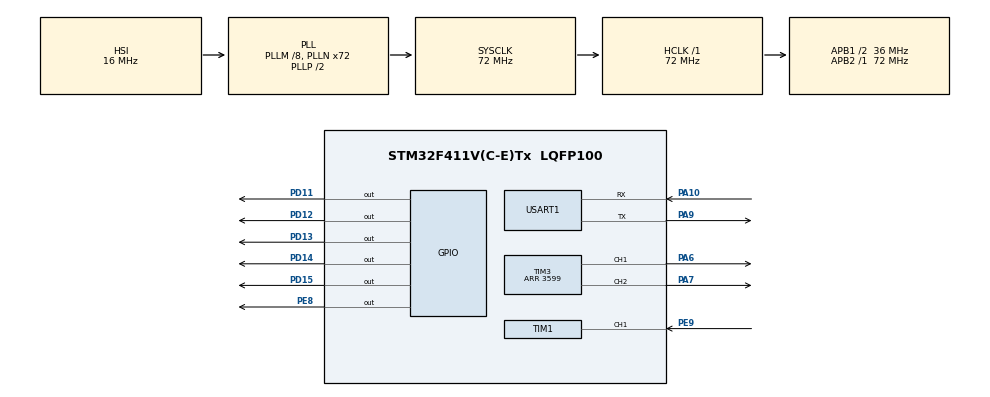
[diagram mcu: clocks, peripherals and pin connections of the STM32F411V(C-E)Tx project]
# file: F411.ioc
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Mcu.Family=STM32F4
Mcu.Name=STM32F411V(C-E)Tx
Mcu.Package=LQFP100
NVIC.PriorityGroup=NVIC_PRIORITYGROUP_4
NVIC.TIM1_CC_IRQn=true\:0\:0\:false\:false\:true\:true\:true\:true
NVIC.USART1_IRQn=true\:0\:0\:false\:false\:true\:true\:true\:true
PA10.Mode=Asynchronous
PA10.Signal=USART1_RX
PA6.Signal=S_TIM3_CH1
PA7.Signal=S_TIM3_CH2
PA9.Mode=Asynchronous
PA9.Signal=USART1_TX
PD11.Signal=GPIO_Output
PD12.Signal=GPIO_Output
PD13.Signal=GPIO_Output
PD14.Signal=GPIO_Output
PD15.Signal=GPIO_Output
PE8.Signal=GPIO_Output
PE9.Signal=S_TIM1_CH1
ProjectManager.HeapSize=0x200
ProjectManager.StackSize=0x400
ProjectManager.TargetToolchain=STM32CubeIDE
RCC.48MHZClocksFreq_Value=36000000
RCC.AHBFreq_Value=72000000
RCC.APB1CLKDivider=RCC_HCLK_DIV2
RCC.APB1Freq_Value=36000000
RCC.APB1TimFreq_Value=72000000
RCC.APB2Freq_Value=72000000
RCC.APB2TimFreq_Value=72000000
RCC.CortexFreq_Value=72000000
RCC.HCLKFreq_Value=72000000
RCC.HSE_VALUE=25000000
RCC.HSI_VALUE=16000000
RCC.LSE_VALUE=32768
RCC.PLLM=8
RCC.PLLN=72
RCC.SYSCLKFreq_VALUE=72000000
RCC.SYSCLKSource=RCC_SYSCLKSOURCE_PLLCLK
RCC.VCOOutputFreq_Value=144000000
SH.S_TIM1_CH1.0=TIM1_CH1,Input_Capture1_from_TI1
SH.S_TIM3_CH1.0=TIM3_CH1,PWM Generation1 CH1
SH.S_TIM3_CH2.0=TIM3_CH2,PWM Generation2 CH2
TIM1.Channel-Input_Capture1_from_TI1=TIM_CHANNEL_1
TIM3.Channel-PWM\ Generation1\ CH1=TIM_CHANNEL_1
TIM3.Channel-PWM\ Generation2\ CH2=TIM_CHANNEL_2
TIM3.Period=3599
USART1.VirtualMode=VM_ASYNC
VP_TIM1_VS_ClockSourceINT.Mode=Internal
board=custom

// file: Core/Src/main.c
/* USER CODE BEGIN Header */
/**
  ******************************************************************************
  * @file           : main.c
  * @brief          : Main program body
  ******************************************************************************
  * @attention
  *
  * Copyright (c) 2025 STMicroelectronics.
  * All rights reserved.
  *
  * This software is licensed under terms that can be found in the LICENSE file
  * in the root directory of this software component.
  * If no LICENSE file comes with this software, it is provided AS-IS.
  *
  ******************************************************************************
  */
/* USER CODE END Header */
#include "main.h"

/* USER CODE BEGIN Includes */
#include <stdlib.h>
#include <time.h>

/* USER CODE END Includes */

TIM_HandleTypeDef htim1;
TIM_HandleTypeDef htim3;

UART_HandleTypeDef huart1;

/* USER CODE BEGIN PV */
uint8_t rx_data;     // 單次接收的字元
uint8_t rx_flag = 0; // 收到新資料的flag
/* USER CODE END PV */

void SystemClock_Config(void);
static void MX_GPIO_Init(void);
static void MX_TIM1_Init(void);
static void MX_USART1_UART_Init(void);
static void MX_TIM3_Init(void);

/* USER CODE BEGIN 0 */
volatile uint32_t IC_Val1 = 0; // 上升緣捕捉到的計數器值
volatile uint32_t IC_Val2 = 0; // 降緣捕捉到的計數器值
volatile uint32_t Difference = 0; // 兩者相減得到的高脈寬
volatile uint8_t  Is_First_Captured = 0; // 狀態旗標
volatile uint16_t Distance = 0; // 計算後的距離，單位 cm

void HCSR05_Read(void);
void delay(uint16_t time);

void delay (uint16_t time) {
  __HAL_TIM_SET_COUNTER(&htim1, 0);
  while (__HAL_TIM_GET_COUNTER(&htim1) < time);
}

int count = 0; // 隨機模式計數
/* USER CODE END 0 */

int main(void)
{

  /* MCU Configuration--------------------------------------------------------*/

  /* Reset of all peripherals, Initializes the Flash interface and the Systick. */
  HAL_Init();

  /* Configure the system clock */
  SystemClock_Config();

  /* Initialize all configured peripherals */
  MX_GPIO_Init();
  MX_TIM1_Init();
  MX_USART1_UART_Init();
  MX_TIM3_Init();
  /* USER CODE BEGIN 2 */
  HAL_TIM_Base_Start(&htim1);  // 啟動 TIM1

  srand( (unsigned)HAL_GetTick() ); //以開機至今的毫秒數當亂數種子

  /* 啟動 PWM：左=CH1(PA6)、右=CH2(PA7) */
  HAL_TIM_PWM_Start(&htim3, TIM_CHANNEL_1);
  HAL_TIM_PWM_Start(&htim3, TIM_CHANNEL_2);

  /* 取得 ARR，方便計算 duty */
  uint32_t PWM_MAX = __HAL_TIM_GET_AUTORELOAD(&htim3);

  /* 給一個預設速度（70%） */
  uint32_t speed = (uint32_t)(PWM_MAX * 0.70f);

  // 非阻塞，避免 UART 卡死
  HAL_TIM_IC_Start_IT(&htim1, TIM_CHANNEL_1); //啟動 TIM1 CH1 輸入 中斷
  HAL_UART_Receive_IT(&huart1, &rx_data, 1);  //開啟UART 中斷
  /* USER CODE END 2 */

  /* Infinite loop */
  while (1)
  {

    /* USER CODE BEGIN 3 */
	  if (rx_flag) { //rx_flag = 1:有新資料，中斷裡面改
	          uint8_t data = rx_data;  // 把剛收到的字元讀出
	          rx_flag = 0;             // 清除旗標

	          switch (data)
	          {
	            case 'w': // forward
	            	  // 先停 PWM 避免瞬間短路
	              __HAL_TIM_SET_COMPARE(&htim3, TIM_CHANNEL_1, 0);
	              __HAL_TIM_SET_COMPARE(&htim3, TIM_CHANNEL_2, 0);
	              HAL_Delay(5);
	              HAL_GPIO_WritePin(GPIOD, GPIO_PIN_12, GPIO_PIN_RESET); // IN1=0
	              HAL_GPIO_WritePin(GPIOD, GPIO_PIN_13, GPIO_PIN_SET);   // IN2=1
	              HAL_GPIO_WritePin(GPIOD, GPIO_PIN_14, GPIO_PIN_RESET); // IN3=0
	              HAL_GPIO_WritePin(GPIOD, GPIO_PIN_15, GPIO_PIN_SET);   // IN4=1
	              __HAL_TIM_SET_COMPARE(&htim3, TIM_CHANNEL_1, speed);   // 左 ENA
	              __HAL_TIM_SET_COMPARE(&htim3, TIM_CHANNEL_2, speed);   // 右 ENB
	              break;

	            case 's': // back
		              __HAL_TIM_SET_COMPARE(&htim3, TIM_CHANNEL_1, 0);
		              __HAL_TIM_SET_COMPARE(&htim3, TIM_CHANNEL_2, 0);
		              HAL_Delay(5);
	              HAL_GPIO_WritePin(GPIOD, GPIO_PIN_12, GPIO_PIN_RESET);
	              HAL_GPIO_WritePin(GPIOD, GPIO_PIN_13, GPIO_PIN_SET);
	              HAL_GPIO_WritePin(GPIOD, GPIO_PIN_14, GPIO_PIN_RESET);
	              HAL_GPIO_WritePin(GPIOD, GPIO_PIN_15, GPIO_PIN_SET);
	              __HAL_TIM_SET_COMPARE(&htim3, TIM_CHANNEL_1, speed);
	              __HAL_TIM_SET_COMPARE(&htim3, TIM_CHANNEL_2, speed);
	              break;

	            case 'a':
		              __HAL_TIM_SET_COMPARE(&htim3, TIM_CHANNEL_1, 0);
		              __HAL_TIM_SET_COMPARE(&htim3, TIM_CHANNEL_2, 0);
		              HAL_Delay(5);
		              HAL_GPIO_WritePin(GPIOD, GPIO_PIN_12, GPIO_PIN_RESET); // IN1=0
		              HAL_GPIO_WritePin(GPIOD, GPIO_PIN_13, GPIO_PIN_SET);   // IN2=1
		              HAL_GPIO_WritePin(GPIOD, GPIO_PIN_14, GPIO_PIN_SET);   // IN3=1
		              HAL_GPIO_WritePin(GPIOD, GPIO_PIN_15, GPIO_PIN_RESET); // IN4=0
	              __HAL_TIM_SET_COMPARE(&htim3, TIM_CHANNEL_1, speed);       // 左 ENA
	              __HAL_TIM_SET_COMPARE(&htim3, TIM_CHANNEL_2, speed);       // 右 ENB
	              break;

	            case 'd': // right
		              __HAL_TIM_SET_COMPARE(&htim3, TIM_CHANNEL_1, 0);
		              __HAL_TIM_SET_COMPARE(&htim3, TIM_CHANNEL_2, 0);
		              HAL_Delay(5);
		              HAL_GPIO_WritePin(GPIOD, GPIO_PIN_12, GPIO_PIN_SET);   // IN1=1
		              HAL_GPIO_WritePin(GPIOD, GPIO_PIN_13, GPIO_PIN_RESET); // IN2=0
		              HAL_GPIO_WritePin(GPIOD, GPIO_PIN_14, GPIO_PIN_RESET); // IN3=0
		              HAL_GPIO_WritePin(GPIOD, GPIO_PIN_15, GPIO_PIN_SET);   // IN4=1
	              __HAL_TIM_SET_COMPARE(&htim3, TIM_CHANNEL_1, speed);       // 左 ENA
	              __HAL_TIM_SET_COMPARE(&htim3, TIM_CHANNEL_2, speed);       // 右 ENB
	              break;

	            case 'x': // 隨機 20 次
	              for (count = 0; count < 20; count++) {
	                int dir = (rand() % 4);
	                uint32_t rnd_speed = (uint32_t)((0.4f + 0.6f*((float)rand()/RAND_MAX)) * PWM_MAX);

	                switch (dir) {
	                  case 0: // forward
	                    HAL_GPIO_WritePin(GPIOD, GPIO_PIN_12, GPIO_PIN_SET);
	                    HAL_GPIO_WritePin(GPIOD, GPIO_PIN_13, GPIO_PIN_RESET);
	                    HAL_GPIO_WritePin(GPIOD, GPIO_PIN_14, GPIO_PIN_SET);
	                    HAL_GPIO_WritePin(GPIOD, GPIO_PIN_15, GPIO_PIN_RESET);
	                    break;
	                  case 1: // back
	                    HAL_GPIO_WritePin(GPIOD, GPIO_PIN_12, GPIO_PIN_RESET);
	                    HAL_GPIO_WritePin(GPIOD, GPIO_PIN_13, GPIO_PIN_SET);
	                    HAL_GPIO_WritePin(GPIOD, GPIO_PIN_14, GPIO_PIN_RESET);
	                    HAL_GPIO_WritePin(GPIOD, GPIO_PIN_15, GPIO_PIN_SET);
	                    break;
	                  case 2: // left
	                    HAL_GPIO_WritePin(GPIOD, GPIO_PIN_12, GPIO_PIN_RESET);
	                    HAL_GPIO_WritePin(GPIOD, GPIO_PIN_13, GPIO_PIN_SET);
	                    HAL_GPIO_WritePin(GPIOD, GPIO_PIN_14, GPIO_PIN_SET);
	                    HAL_GPIO_WritePin(GPIOD, GPIO_PIN_15, GPIO_PIN_RESET);
	                    break;
	                  case 3: // right
	                    HAL_GPIO_WritePin(GPIOD, GPIO_PIN_12, GPIO_PIN_SET);
	                    HAL_GPIO_WritePin(GPIOD, GPIO_PIN_13, GPIO_PIN_RESET);
	                    HAL_GPIO_WritePin(GPIOD, GPIO_PIN_14, GPIO_PIN_RESET);
	                    HAL_GPIO_WritePin(GPIOD, GPIO_PIN_15, GPIO_PIN_SET);
	                    break;
	                }

	                __HAL_TIM_SET_COMPARE(&htim3, TIM_CHANNEL_1, rnd_speed);
	                __HAL_TIM_SET_COMPARE(&htim3, TIM_CHANNEL_2, rnd_speed);
	                HAL_Delay(500);
	              }
	              __HAL_TIM_SET_COMPARE(&htim3, TIM_CHANNEL_1, 0);
	              __HAL_TIM_SET_COMPARE(&htim3, TIM_CHANNEL_2, 0);
	              HAL_GPIO_WritePin(GPIOD, GPIO_PIN_12|GPIO_PIN_13|GPIO_PIN_14|GPIO_PIN_15, GPIO_PIN_RESET);
	              break;

	            case 't': // stop
	              __HAL_TIM_SET_COMPARE(&htim3, TIM_CHANNEL_1, 0);
	              __HAL_TIM_SET_COMPARE(&htim3, TIM_CHANNEL_2, 0);
	              HAL_GPIO_WritePin(GPIOD, GPIO_PIN_12|GPIO_PIN_13|GPIO_PIN_14|GPIO_PIN_15, GPIO_PIN_RESET);
	              break;

	            default:
	              break;
	          }
	      }

	  // 觸發一次超音波量測
	  HCSR05_Read();

	  // 安全停車（<10cm）
	  if (Distance < 10) {
	    HAL_GPIO_WritePin(GPIOD, GPIO_PIN_11, GPIO_PIN_SET);    // 蜂鳴器
	    __HAL_TIM_SET_COMPARE(&htim3, TIM_CHANNEL_1, 0);
	    __HAL_TIM_SET_COMPARE(&htim3, TIM_CHANNEL_2, 0);
	    HAL_GPIO_WritePin(GPIOD, GPIO_PIN_12|GPIO_PIN_13|GPIO_PIN_14|GPIO_PIN_15, GPIO_PIN_RESET);
	  } else {
	    HAL_GPIO_WritePin(GPIOD, GPIO_PIN_11, GPIO_PIN_RESET);
	  }

	  HAL_Delay(20);

  }
  /* USER CODE END 3 */
}

void SystemClock_Config(void)
{
  RCC_OscInitTypeDef RCC_OscInitStruct = {0};
  RCC_ClkInitTypeDef RCC_ClkInitStruct = {0};

  /** Configure the main internal regulator output voltage
  */
  __HAL_RCC_PWR_CLK_ENABLE();
  __HAL_PWR_VOLTAGESCALING_CONFIG(PWR_REGULATOR_VOLTAGE_SCALE1);

  /** Initializes the RCC Oscillators according to the specified parameters
  * in the RCC_OscInitTypeDef structure.
  */
  RCC_OscInitStruct.OscillatorType = RCC_OSCILLATORTYPE_HSI;
  RCC_OscInitStruct.HSIState = RCC_HSI_ON; //啟用內部石英震盪器
  RCC_OscInitStruct.HSICalibrationValue = RCC_HSICALIBRATION_DEFAULT;
  RCC_OscInitStruct.PLL.PLLState = RCC_PLL_ON;
  RCC_OscInitStruct.PLL.PLLSource = RCC_PLLSOURCE_HSI;
  RCC_OscInitStruct.PLL.PLLM = 8;  // 除頻 M=8 → 16MHz/8 = 2 MHz
  RCC_OscInitStruct.PLL.PLLN = 72; // 倍頻 N=72 → 2 MHz × 72 = 144 MHz
  RCC_OscInitStruct.PLL.PLLP = RCC_PLLP_DIV2; // 再除以 P=2 → 144/2 = 72 MHz (系統時鐘 SYSCLK)
  RCC_OscInitStruct.PLL.PLLQ = 4;   // 給 USB/SDIO 用 → 144/4 = 36 MHz
  if (HAL_RCC_OscConfig(&RCC_OscInitStruct) != HAL_OK)
  {
    Error_Handler();
  }

  /** Initializes the CPU, AHB and APB buses clocks
  */
  RCC_ClkInitStruct.ClockType = RCC_CLOCKTYPE_HCLK|RCC_CLOCKTYPE_SYSCLK
                              |RCC_CLOCKTYPE_PCLK1|RCC_CLOCKTYPE_PCLK2;
  RCC_ClkInitStruct.SYSCLKSource = RCC_SYSCLKSOURCE_PLLCLK;
  RCC_ClkInitStruct.AHBCLKDivider = RCC_SYSCLK_DIV1;
  RCC_ClkInitStruct.APB1CLKDivider = RCC_HCLK_DIV2;
  RCC_ClkInitStruct.APB2CLKDivider = RCC_HCLK_DIV1;

  if (HAL_RCC_ClockConfig(&RCC_ClkInitStruct, FLASH_LATENCY_2) != HAL_OK)
  {
    Error_Handler();
  }
}

static void MX_TIM1_Init(void)
{

  TIM_ClockConfigTypeDef sClockSourceConfig = {0};
  TIM_MasterConfigTypeDef sMasterConfig = {0};
  TIM_IC_InitTypeDef sConfigIC = {0};

  htim1.Instance = TIM1;
  htim1.Init.Prescaler = 71;  // 預分頻 PSC=71 → 72MHz / (71+1) = 1MHz
  htim1.Init.CounterMode = TIM_COUNTERMODE_UP; // 正向遞增計數
  htim1.Init.Period = 65535;  // ARR=65535 → 計數範圍 0~65535（約 65.535ms）
  htim1.Init.ClockDivision = TIM_CLOCKDIVISION_DIV1; // 時鐘分頻=1（對 IC 取樣時基）
  htim1.Init.RepetitionCounter = 0;
  htim1.Init.AutoReloadPreload = TIM_AUTORELOAD_PRELOAD_DISABLE;
  if (HAL_TIM_Base_Init(&htim1) != HAL_OK)
  {
    Error_Handler();
  }
  sClockSourceConfig.ClockSource = TIM_CLOCKSOURCE_INTERNAL; // 用內部時鐘
  if (HAL_TIM_ConfigClockSource(&htim1, &sClockSourceConfig) != HAL_OK)
  {
    Error_Handler();
  }
  if (HAL_TIM_IC_Init(&htim1) != HAL_OK) //啟用輸入捕捉功能
  {
    Error_Handler();
  }
  sMasterConfig.MasterOutputTrigger = TIM_TRGO_RESET;
  sMasterConfig.MasterSlaveMode = TIM_MASTERSLAVEMODE_DISABLE;
  if (HAL_TIMEx_MasterConfigSynchronization(&htim1, &sMasterConfig) != HAL_OK)
  {
    Error_Handler();
  }
  sConfigIC.ICPolarity = TIM_INPUTCHANNELPOLARITY_RISING;
  sConfigIC.ICSelection = TIM_ICSELECTION_DIRECTTI;
  sConfigIC.ICPrescaler = TIM_ICPSC_DIV1;
  sConfigIC.ICFilter = 0;
  if (HAL_TIM_IC_ConfigChannel(&htim1, &sConfigIC, TIM_CHANNEL_1) != HAL_OK)
  {
    Error_Handler();
  }

}

static void MX_TIM3_Init(void)
{

  TIM_MasterConfigTypeDef sMasterConfig = {0};
  TIM_OC_InitTypeDef sConfigOC = {0};

  htim3.Instance = TIM3;
  htim3.Init.Prescaler = 0;
  htim3.Init.CounterMode = TIM_COUNTERMODE_UP;
  htim3.Init.Period = 3599;  // ARR=3599 → 週期計數 3600
  htim3.Init.ClockDivision = TIM_CLOCKDIVISION_DIV1; // 時鐘分頻=1
  htim3.Init.AutoReloadPreload = TIM_AUTORELOAD_PRELOAD_DISABLE;
  if (HAL_TIM_PWM_Init(&htim3) != HAL_OK)
  {
    Error_Handler();
  }
  sMasterConfig.MasterOutputTrigger = TIM_TRGO_RESET;
  sMasterConfig.MasterSlaveMode = TIM_MASTERSLAVEMODE_DISABLE;
  if (HAL_TIMEx_MasterConfigSynchronization(&htim3, &sMasterConfig) != HAL_OK)
  {
    Error_Handler();
  }
  sConfigOC.OCMode = TIM_OCMODE_PWM1;
  sConfigOC.Pulse = 0; //// 初始佔空比=0
  sConfigOC.OCPolarity = TIM_OCPOLARITY_HIGH; // 比較值以上為高電平
  sConfigOC.OCFastMode = TIM_OCFAST_DISABLE;
  if (HAL_TIM_PWM_ConfigChannel(&htim3, &sConfigOC, TIM_CHANNEL_1) != HAL_OK)
  {
    Error_Handler();
  }
  if (HAL_TIM_PWM_ConfigChannel(&htim3, &sConfigOC, TIM_CHANNEL_2) != HAL_OK)
  {
    Error_Handler();
  }
  HAL_TIM_MspPostInit(&htim3);

}

static void MX_USART1_UART_Init(void)
{

  huart1.Instance = USART1;
  huart1.Init.BaudRate = 115200;
  huart1.Init.WordLength = UART_WORDLENGTH_8B; // 每個字元 8 bit
  huart1.Init.StopBits = UART_STOPBITS_1;    // 停止位 1
  huart1.Init.Parity = UART_PARITY_NONE;     // 不用奇偶校驗
  huart1.Init.Mode = UART_MODE_TX_RX;
  huart1.Init.HwFlowCtl = UART_HWCONTROL_NONE;
  huart1.Init.OverSampling = UART_OVERSAMPLING_16;
  if (HAL_UART_Init(&huart1) != HAL_OK)
  {
    Error_Handler();
  }
  /* USER CODE BEGIN USART1_Init 2 */
  /* 如果你之後要用中斷收資料，可以在這裡呼叫
       HAL_UART_Receive_IT(&huart1, &rx_data, 1); */
  /* USER CODE END USART1_Init 2 */

}

static void MX_GPIO_Init(void)
{
  GPIO_InitTypeDef GPIO_InitStruct = {0};

  /* GPIO Ports Clock Enable */
  __HAL_RCC_GPIOA_CLK_ENABLE();
  __HAL_RCC_GPIOE_CLK_ENABLE();
  __HAL_RCC_GPIOD_CLK_ENABLE();

  /*Configure GPIO pin Output Level */
  HAL_GPIO_WritePin(GPIOE, GPIO_PIN_8, GPIO_PIN_RESET);

  /*Configure GPIO pin Output Level */
  HAL_GPIO_WritePin(GPIOD, GPIO_PIN_11|GPIO_PIN_12|GPIO_PIN_13|GPIO_PIN_14
                          |GPIO_PIN_15, GPIO_PIN_RESET);

  /*Configure GPIO pin : PE8 */
  GPIO_InitStruct.Pin = GPIO_PIN_8;
  GPIO_InitStruct.Mode = GPIO_MODE_OUTPUT_PP;
  GPIO_InitStruct.Pull = GPIO_NOPULL;
  GPIO_InitStruct.Speed = GPIO_SPEED_FREQ_LOW;
  HAL_GPIO_Init(GPIOE, &GPIO_InitStruct);

  /*Configure GPIO pins : PD11 PD12 PD13 PD14
                           PD15 */
  GPIO_InitStruct.Pin = GPIO_PIN_11|GPIO_PIN_12|GPIO_PIN_13|GPIO_PIN_14
                          |GPIO_PIN_15;
  GPIO_InitStruct.Mode = GPIO_MODE_OUTPUT_PP;
  GPIO_InitStruct.Pull = GPIO_NOPULL;
  GPIO_InitStruct.Speed = GPIO_SPEED_FREQ_LOW;
  HAL_GPIO_Init(GPIOD, &GPIO_InitStruct);

  /* USER CODE BEGIN MX_GPIO_Init_2 */
  /* 如果你之後還要加按鍵/感測器，可以在這裡設定輸入腳位 */
  /* USER CODE END MX_GPIO_Init_2 */
}

/* USER CODE BEGIN 4 */
void HCSR05_Read(void) {
  HAL_GPIO_WritePin(GPIOE, GPIO_PIN_8, GPIO_PIN_SET); //產生 Trigger 高脈衝
  delay(10); // 10 µs trigger
  HAL_GPIO_WritePin(GPIOE, GPIO_PIN_8, GPIO_PIN_RESET); //結束 Trigger
  __HAL_TIM_ENABLE_IT(&htim1, TIM_IT_CC1); // 開啟 TIM1 CH1 的捕捉中斷（等待 Echo 邊緣）
}

void HAL_TIM_IC_CaptureCallback(TIM_HandleTypeDef *htim) {
  if (htim->Channel == HAL_TIM_ACTIVE_CHANNEL_1) { //CH1 觸發
    if (Is_First_Captured == 0) { //第一次：上升緣
      IC_Val1 = HAL_TIM_ReadCapturedValue(&htim1, TIM_CHANNEL_1); //記錄上升緣時間戳
      Is_First_Captured = 1; //進入「等待下降緣」狀態
      __HAL_TIM_SET_CAPTUREPOLARITY(&htim1, TIM_CHANNEL_1, TIM_INPUTCHANNELPOLARITY_FALLING);
    } else { //第二次：下降緣
      IC_Val2 = HAL_TIM_ReadCapturedValue(&htim1, TIM_CHANNEL_1); //記錄下降緣時間戳
      __HAL_TIM_SET_COUNTER(&htim1, 0); //清計數器，避免下次溢位誤差累積

      if (IC_Val2 >= IC_Val1) Difference = IC_Val2 - IC_Val1;
      else                    Difference = (65535 - IC_Val1) + IC_Val2;

      Distance = (uint16_t)(Difference * 0.0343f / 2.0f); // 距離(cm)=脈寬(µs)*聲速(cm/µs)/2
      Is_First_Captured = 0; // 重置

      __HAL_TIM_SET_CAPTUREPOLARITY(&htim1, TIM_CHANNEL_1, TIM_INPUTCHANNELPOLARITY_RISING);
      __HAL_TIM_DISABLE_IT(&htim1, TIM_IT_CC1);
    }
  }
}

void HAL_UART_RxCpltCallback(UART_HandleTypeDef *huart) {
  if (huart->Instance == USART1) { //確認是 USART1 的收訊中斷
    rx_flag = 1;  // 通知主迴圈有新資料
    // 再次啟動接收下一個字元
    HAL_UART_Receive_IT(&huart1, &rx_data, 1);
  }
}

/* USER CODE END 4 */

void Error_Handler(void)
{
  __disable_irq();
  while (1)
  {
  }
}
